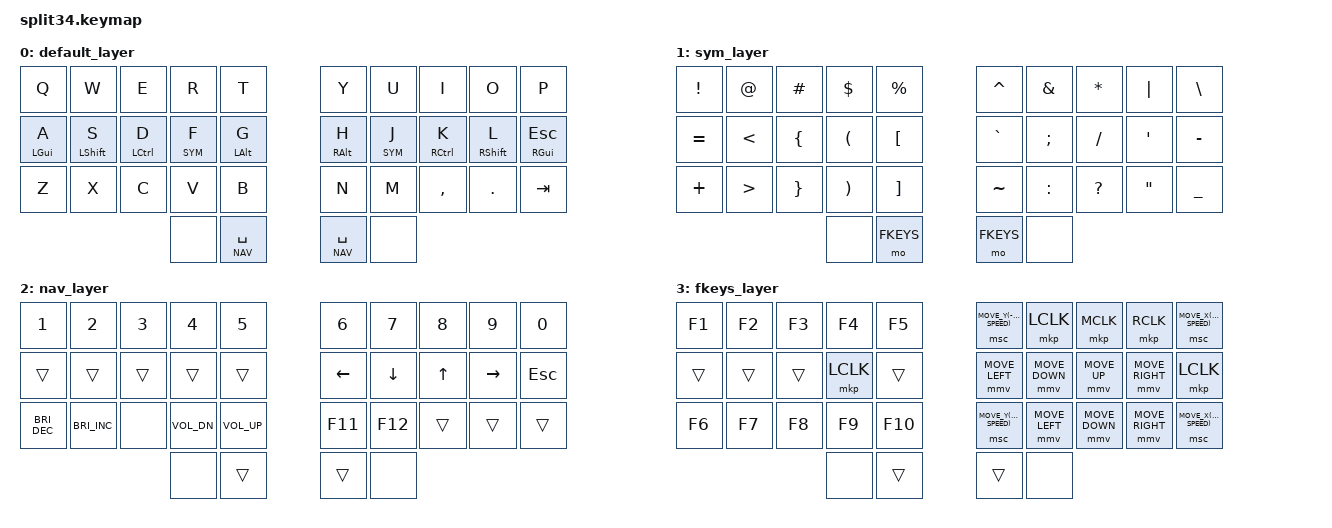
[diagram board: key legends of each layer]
#define ZMK_POINTING_DEFAULT_MOVE_VAL 1200  // default: 600
#define ZMK_POINTING_DEFAULT_SCRL_VAL 10    // default: 10

#define SCRL_SPEED 18 

#include <dt-bindings/zmk/keys.h>
#include <dt-bindings/zmk/pointing.h>
#include <dt-bindings/zmk/bt.h>
#include <behaviors.dtsi>
#include "zmk-helpers/helper.h"
#include "split34-labels.h"

&mmv {
    time-to-max-speed-ms = <450>;
    acceleration-exponent = <1>;
};

&msc {
    time-to-max-speed-ms = <600>;
    acceleration-exponent = <1>;
};

#define DEF 0
#define SYM 1
#define NAV 2
#define FKEYS 3

ZMK_HOLD_TAP(hml,
    flavor = "balanced";
    tapping-term-ms = <225>;
    quick-tap-ms = <175>;
    require-prior-idle-ms = <130>;
    hold-trigger-on-release;
    hold-trigger-key-positions = <RIGHT_HAND_KEYS>;
    bindings = <&kp>, <&kp>;
)

ZMK_HOLD_TAP(hmr,
    flavor = "balanced";
    tapping-term-ms = <225>;
    quick-tap-ms = <175>;
    require-prior-idle-ms = <130>;
    hold-trigger-on-release;
    hold-trigger-key-positions = <LEFT_HAND_KEYS>;
    bindings = <&kp>, <&kp>;
)

/ {
    behaviors {
        skq: sticky_key_quick_release {
            compatible = "zmk,behavior-sticky-key";
            #binding-cells = <1>;
            bindings = <&kp>;
            release-after-ms = <1000>;
            quick-release;
        };
    };

    combos {
        compatible = "zmk,combos";

        combo_bspc_left {
            timeout-ms = <50>;
            key-positions = <22 23>;
            bindings = <&kp BSPC>;
            layers = <DEF>;
        };

        combo_bspc_right {
            timeout-ms = <50>;
            key-positions = <26 27>;
            bindings = <&kp BSPC>;
            layers = <DEF>;
        };

        combo_ret_left {
            timeout-ms = <50>;
            key-positions = <12 13>;
            bindings = <&kp RET>;
            layers = <DEF>;
        };

        combo_ret_right {
            timeout-ms = <50>;
            key-positions = <16 17>;
            bindings = <&kp RET>;
            layers = <DEF>;
        };

        /* --- one-shot layers --- */
        combo_osl_sym_left {
            timeout-ms = <50>;
            key-positions = <21 22>;
            bindings = <&sl SYM>;
            layers = <DEF>;
        };

        combo_osl_sym_right {
            timeout-ms = <50>;
            key-positions = <27 28>;
            bindings = <&sl SYM>;
            layers = <DEF>;
        };

        combo_osl_nav_left {
            timeout-ms = <50>;
            key-positions = <11 22>;
            bindings = <&sl NAV>;
            layers = <DEF>;
        };

        combo_osl_nav_right {
            timeout-ms = <50>;
            key-positions = <27 18>;
            bindings = <&sl NAV>;
            layers = <DEF>;
        };

        combo_osl_fkeys_left {
            timeout-ms = <50>;
            key-positions = <12 23>;
            bindings = <&sl FKEYS>;
            layers = <DEF>;
        };

        combo_osl_fkeys_right {
            timeout-ms = <50>;
            key-positions = <17 26>;
            bindings = <&sl FKEYS>;
            layers = <DEF>;
        };

        /* --- one-shot shift --- */
        combo_osm_lshift {
            timeout-ms = <50>;
            key-positions = <11 12>;
            bindings = <&skq LSHFT>;
            layers = <DEF>;
        };

        combo_osm_rshift {
            timeout-ms = <50>;
            key-positions = <17 18>;
            bindings = <&skq RSHFT>;
            layers = <DEF>;
        };

        /* --- toggle layers --- */
        combo_tog_sym_left {
            timeout-ms = <50>;
            key-positions = <30 10>;
            bindings = <&tog SYM>;
            layers = <DEF SYM>;
        };

        combo_tog_sym_right {
            timeout-ms = <50>;
            key-positions = <33 19>;
            bindings = <&tog SYM>;
            layers = <DEF SYM>;
        };

        combo_tog_nav_left {
            timeout-ms = <50>;
            key-positions = <30 0>;
            bindings = <&tog NAV>;
            layers = <DEF NAV>;
        };

        combo_tog_nav_right {
            timeout-ms = <50>;
            key-positions = <33 9>;
            bindings = <&tog NAV>;
            layers = <DEF NAV>;
        };

        combo_tog_fkeys_left {
            timeout-ms = <50>;
            key-positions = <30 20>;
            bindings = <&tog FKEYS>;
            layers = <DEF FKEYS>;
        };

        combo_tog_fkeys_right {
            timeout-ms = <50>;
            key-positions = <33 29>;
            bindings = <&tog FKEYS>;
            layers = <DEF FKEYS>;
        };

        /* --- toggle caps lock --- */
        combo_capsword_left {
            timeout-ms = <50>;
            key-positions = <13 11>;
            bindings = <&caps_word>;
            layers = <DEF>;
        };

        combo_capsword_right {
            timeout-ms = <50>;
            key-positions = <16 18>;
            bindings = <&caps_word>;
            layers = <DEF>;
        };

        /* --- studio unlock --- */
        combo_std_ul_left {
            timeout-ms = <50>;
            key-positions = <30 31>;
            bindings = <&studio_unlock>;
            layers = <DEF>;
        };

        combo_std_ul_right {
            timeout-ms = <50>;
            key-positions = <32 33>;
            bindings = <&studio_unlock>;
            layers = <DEF>;
        };
    };

    keymap {
        compatible = "zmk,keymap";

        default_layer {
            bindings = <
                &kp Q        &kp W         &kp E         &kp R      &kp T                 &kp Y          &kp U      &kp I         &kp O         &kp P
                &hml LGUI A  &hml LSHFT S  &hml LCTRL D  &lt SYM F  &hml LALT G           &hmr RALT H    &lt SYM J  &hmr RCTRL K  &hmr RSHFT L  &hmr RGUI ESC
                &kp Z        &kp X         &kp C         &kp V      &kp B                 &kp N          &kp M      &kp COMMA     &kp DOT       &kp TAB
                                                         &none      &lt NAV SPACE         &lt NAV SPACE  &none
            >;
        };

        sym_layer {
            bindings = <
                &kp EXCL   &kp AT  &kp HASH  &kp DLLR  &kp PRCNT             &kp CARET  &kp AMPS   &kp ASTRK  &kp PIPE  &kp BSLH
                &kp EQUAL  &kp LT  &kp LBRC  &kp LPAR  &kp LBKT              &kp GRAVE  &kp SEMI   &kp FSLH   &kp SQT   &kp MINUS
                &kp PLUS   &kp GT  &kp RBRC  &kp RPAR  &kp RBKT              &kp TILDE  &kp COLON  &kp QMARK  &kp DQT   &kp UNDER
                                             &none     &mo FKEYS             &mo FKEYS  &none
            >;
        };

        nav_layer {
            bindings = <
                &kp N1         &kp N2         &kp N3  &kp N4        &kp N5                &kp N6    &kp N7    &kp N8  &kp N9     &kp N0
                &trans         &trans         &trans  &trans        &trans                &kp LEFT  &kp DOWN  &kp UP  &kp RIGHT  &kp ESC
                &kp C_BRI_DEC  &kp C_BRI_INC  &none   &kp C_VOL_DN  &kp C_VOL_UP          &kp F11   &kp F12   &trans  &trans     &trans
                                                      &none         &trans                &trans    &none
            >;
        };

        fkeys_layer {
            bindings = < 
                &kp F1  &kp F2  &kp F3  &kp F4     &kp F5                &msc MOVE_Y(-SCRL_SPEED)  &mkp LCLK       &mkp MCLK       &mkp RCLK        &msc MOVE_X(-SCRL_SPEED)
                &trans  &trans  &trans  &mkp LCLK  &trans                &mmv MOVE_LEFT            &mmv MOVE_DOWN  &mmv MOVE_UP    &mmv MOVE_RIGHT  &mkp LCLK
                &kp F6  &kp F7  &kp F8  &kp F9     &kp F10               &msc MOVE_Y(SCRL_SPEED)   &mmv MOVE_LEFT  &mmv MOVE_DOWN  &mmv MOVE_RIGHT  &msc MOVE_X(SCRL_SPEED)
                                        &none      &trans                &trans                    &none
            >;
        };
    };
};
